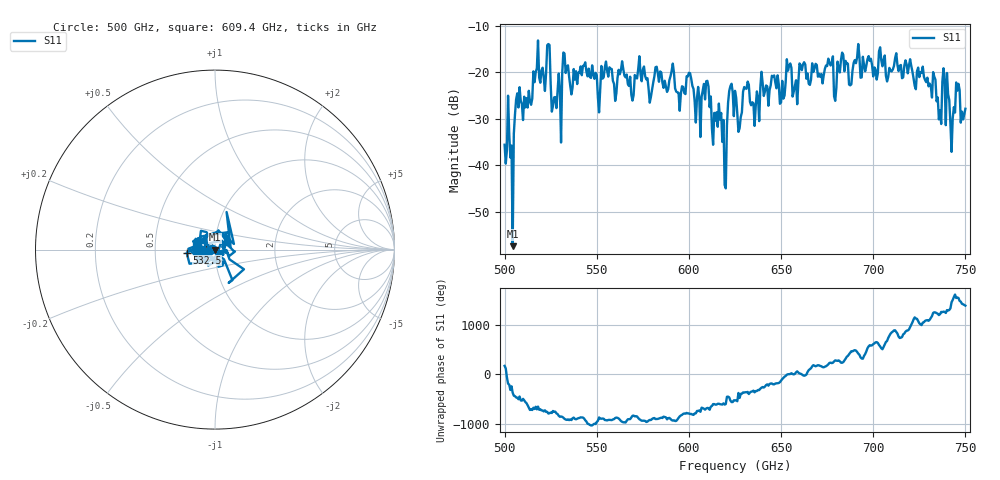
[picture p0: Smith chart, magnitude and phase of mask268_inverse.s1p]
!Created with skrf (http://scikit-rf.org).
# GHz S MA R 50.0
!freq magS11 angS11
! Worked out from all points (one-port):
!   401 points, 500 GHz to 750 GHz, reference 50 ohm
!   lowest |S11| = -57.4 dB at 504.4 GHz (marker M1), VSWR 1.00, Z = 50.1 - j0.0217 ohm
!   |S11| at or under -10 dB: start of sweep to end of sweep
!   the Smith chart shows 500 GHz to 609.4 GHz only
!   S11 on the Smith chart (normalised r, x): 500 GHz: 0.97, +0.00; 532.5 GHz: 0.73, -0.03; 609.4 GHz: 1.14, +0.10
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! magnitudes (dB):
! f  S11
! 500 GHz  -35.6
! 504.4 GHz  -57.4
! 506.9 GHz  -24.6
! 513.8 GHz  -26.3
! 516.9 GHz  -20.0
! 523.8 GHz  -14.0
! 526.9 GHz  -25.4
! 531.2 GHz  -20.3
! 532.5 GHz  -16.0
! 550.6 GHz  -25.5
! 562.5 GHz  -20.5
! 593.8 GHz  -24.3
! 609.4 GHz  -22.0
! 617.5 GHz  -28.8
! 619.4 GHz  -44.3
! 622.5 GHz  -23.0
! 625 GHz  -24.0
! 627.5 GHz  -32.1
! 631.2 GHz  -23.6
! 636.9 GHz  -24.1
! 656.2 GHz  -25.3
! 687.5 GHz  -22.8
! 718.8 GHz  -20.3
! 735.6 GHz  -30.2
! 738.8 GHz  -22.1
! 743.1 GHz  -29.9
! 745.6 GHz  -24.0
! 750 GHz  -27.9
